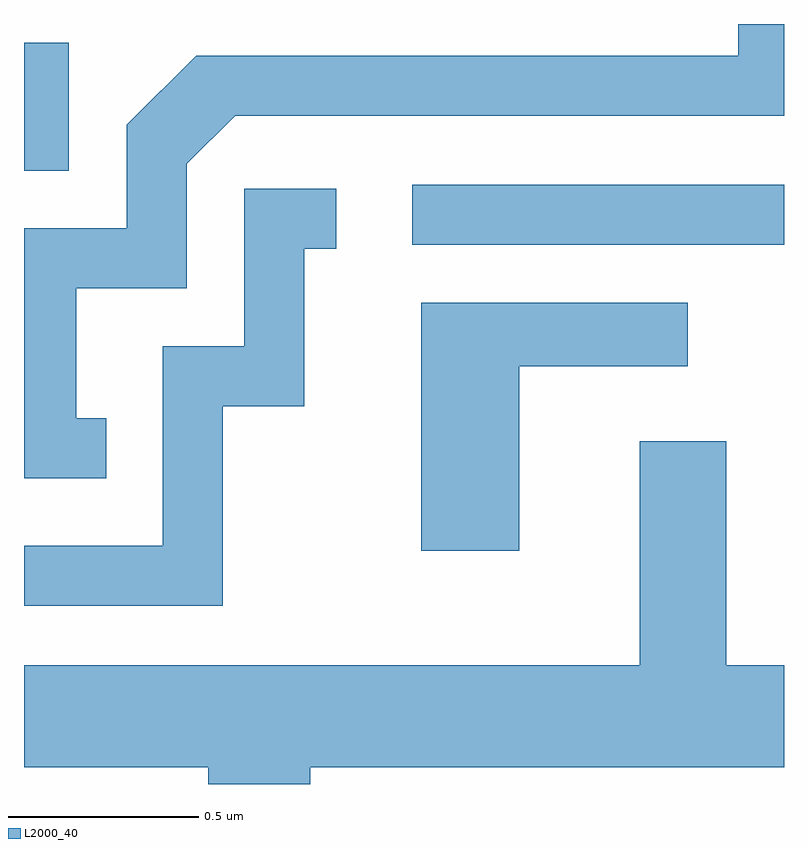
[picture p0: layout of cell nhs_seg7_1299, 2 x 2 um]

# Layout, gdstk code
import gdstk
lib = gdstk.Library(unit=1e-6, precision=1e-09)
def R(c, l, rs):  # rectangles x0, y0, x1, y1
    for r in rs: c.add(gdstk.rectangle(r[:2], r[2:], *l))
def P(c, l, *ps):  # polygons
    for p in ps: c.add(gdstk.Polygon(p, *l))
L2000_40 = (2000, 40)

nhs_seg7_1299 = lib.new_cell('nhs_seg7_1299')
R(nhs_seg7_1299, L2000_40, [(195.633,1735.671,196.611,1735.829), (194.611,1735.866,194.729,1736.203)])
P(nhs_seg7_1299, L2000_40, [(194.828,1735.214),(194.749,1735.214),(194.749,1735.556),(195.039,1735.556),(195.039,1735.884),(195.167,1736.011),(196.611,1736.011),(196.611,1736.252),(196.491,1736.252),(196.491,1736.169),(195.064,1736.169),(194.881,1735.987),(194.881,1735.714),(194.611,1735.714),(194.611,1735.056),(194.828,1735.056)],
  [(195.134,1735.246),(195.349,1735.246),(195.349,1735.661),(195.433,1735.661),(195.433,1735.819),(195.191,1735.819),(195.191,1735.404),(194.976,1735.404),(194.976,1734.879),(194.611,1734.879),(194.611,1734.721),(195.134,1734.721)],
  [(195.914,1735.351),(196.358,1735.351),(196.358,1735.519),(195.656,1735.519),(195.656,1734.866),(195.914,1734.866)],
  [(195.364,1734.296),(196.611,1734.296),(196.611,1734.564),(196.459,1734.564),(196.459,1735.154),(196.231,1735.154),(196.231,1734.564),(194.611,1734.564),(194.611,1734.296),(195.096,1734.296),(195.096,1734.252),(195.364,1734.252)])

lib.write_gds('nhs_seg7_1299.gds')
